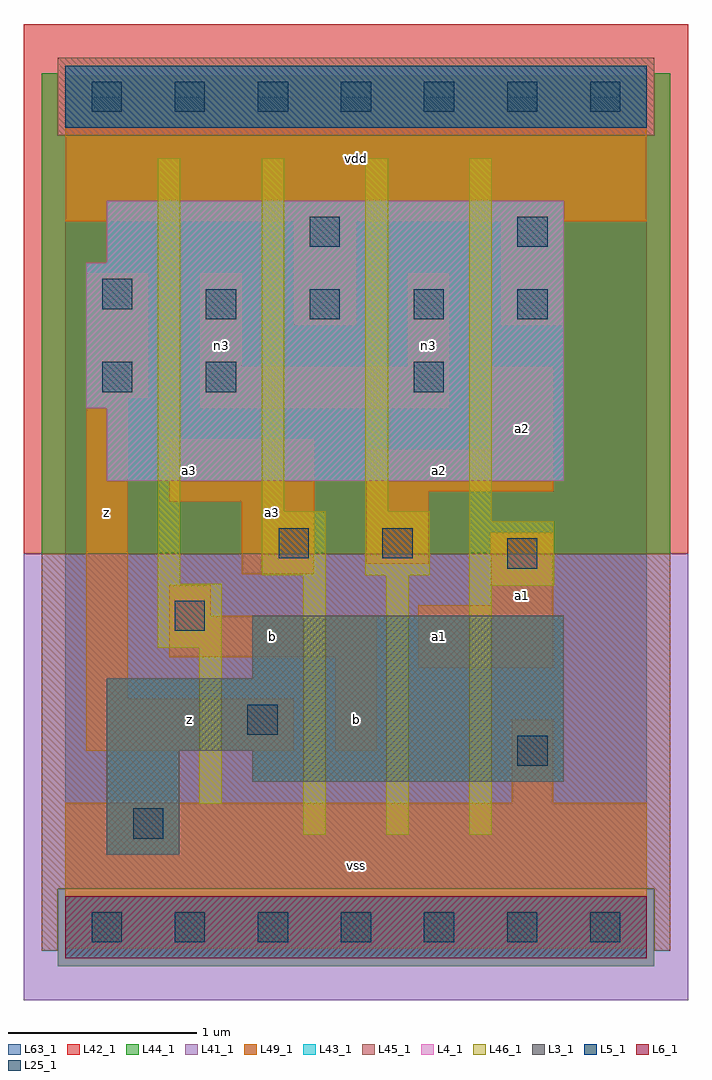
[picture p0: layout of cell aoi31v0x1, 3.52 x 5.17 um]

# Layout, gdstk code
import gdstk
lib = gdstk.Library(unit=1e-6, precision=1e-09)
def R(c, l, rs):  # rectangles x0, y0, x1, y1
    for r in rs: c.add(gdstk.rectangle(r[:2], r[2:], *l))
def A(c, l, x, y, w, h, nx, ny, dx, dy):  # array of equal rectangles
    R(c, l, [(x+i*dx, y+j*dy, x+i*dx+w, y+j*dy+h) for i in range(nx) for j in range(ny)])
L3_1 = (3, 1)
L4_1 = (4, 1)
L5_1 = (5, 1)
L6_1 = (6, 1)
L25_1 = (25, 1)
L41_1 = (41, 1)
L42_1 = (42, 1)
L43_1 = (43, 1)
L44_1 = (44, 1)
L45_1 = (45, 1)
L46_1 = (46, 1)
L49_1 = (49, 1)
L63_1 = (63, 1)

aoi31v0x1 = lib.new_cell('aoi31v0x1')
R(aoi31v0x1, L3_1, [(0.22,0.385,0.605,0.935), (0.99,0.77,2.64,0.935), (0.22,0.935,2.64,1.32), (0.99,1.32,2.64,1.65)])
R(aoi31v0x1, L4_1, [(0.22,2.365,2.64,2.75), (0.11,2.75,2.64,3.52), (0.22,3.52,2.64,3.85)])
R(aoi31v0x1, L5_1, [(0,4.235,3.08,4.565)])
R(aoi31v0x1, L6_1, [(0,-0.165,3.08,0.165)])
A(aoi31v0x1, L25_1, 0.14, -0.08, 0.16, 0.16, 7, 2, 0.44, 4.4)
A(aoi31v0x1, L25_1, 0.745, 3.22, 0.16, 0.16, 4, 1, 0.55, 0)
R(aoi31v0x1, L25_1, [(0.36,0.47,0.52,0.63), (2.395,0.855,2.555,1.015), (0.965,1.02,1.125,1.18), (0.58,1.57,0.74,1.73), (2.34,1.9,2.5,2.06), (1.13,1.955,1.29,2.115), (1.68,1.955,1.84,2.115), (0.195,2.835,0.355,2.995), (0.745,2.835,0.905,2.995), (1.845,2.835,2.005,2.995), (0.195,3.275,0.355,3.435), (1.295,3.605,1.455,3.765), (2.395,3.605,2.555,3.765)])
R(aoi31v0x1, L41_1, [(-0.22,-0.385,3.3,1.98)])
R(aoi31v0x1, L42_1, [(-0.22,1.98,3.3,4.785)])
R(aoi31v0x1, L43_1, [(0,-0.165,3.08,0.165), (0.22,0.385,0.605,0.935), (0.99,0.77,2.64,0.935), (0.22,0.935,2.64,1.32), (0.99,1.32,2.64,1.65), (0.22,2.365,2.64,2.75), (0.11,2.75,2.64,3.52), (0.22,3.52,2.64,3.85), (0,4.235,3.08,4.565)])
R(aoi31v0x1, L44_1, [(-0.04,-0.205,3.12,0.205), (-0.125,1.98,3.205,4.195), (-0.125,4.195,-0.04,4.525), (3.12,4.195,3.205,4.525)])
R(aoi31v0x1, L45_1, [(-0.125,-0.125,-0.04,0.205), (3.12,-0.125,3.205,0.205), (-0.125,0.205,3.205,1.98), (-0.04,4.195,3.12,4.605)])
R(aoi31v0x1, L46_1, [(1.26,0.49,1.38,1.865), (1.7,0.49,1.82,1.865), (2.14,0.49,2.26,1.81), (0.71,0.655,0.83,1.48), (0.49,1.48,0.83,1.82), (2.14,1.81,2.59,2.15), (0.49,1.82,0.61,4.075), (1.04,1.865,1.38,2.205), (1.59,1.865,1.93,2.205), (2.14,2.15,2.26,4.075), (1.04,2.205,1.16,4.075), (1.59,2.205,1.71,4.075)])
R(aoi31v0x1, L49_1, [(0,-0.11,3.08,0.66), (2.365,0.66,2.585,1.1), (0.11,0.935,1.21,1.21), (1.43,0.935,1.65,1.43), (0.11,1.21,0.33,2.805), (1.87,1.375,2.585,1.705), (0.55,1.43,1.65,1.65), (0.55,1.65,0.77,1.815), (2.255,1.705,2.585,2.09), (0.935,1.87,1.32,2.255), (1.595,1.925,1.925,2.31), (0.55,2.255,1.32,2.585), (1.595,2.31,2.585,2.53), (2.255,2.53,2.585,2.97), (0.715,2.75,2.035,2.97), (0.11,2.805,0.44,3.465), (0.715,2.97,0.935,3.465), (1.815,2.97,2.035,3.465), (1.21,3.19,1.54,3.74), (2.31,3.19,2.64,3.74), (0,3.74,3.08,4.51)])
R(aoi31v0x1, L63_1, [(0,0,3.08,4.4)])
aoi31v0x1.add(gdstk.Label('z', (0.22,2.2), layer=49, texttype=1))
aoi31v0x1.add(gdstk.Label('z', (0.66,1.1), layer=49, texttype=1))
aoi31v0x1.add(gdstk.Label('a3', (0.66,2.42), layer=49, texttype=1))
aoi31v0x1.add(gdstk.Label('n3', (0.825,3.08), layer=49, texttype=1))
aoi31v0x1.add(gdstk.Label('vss', (1.54,0.33), layer=49, texttype=1))
aoi31v0x1.add(gdstk.Label('b', (1.1,1.54), layer=49, texttype=1))
aoi31v0x1.add(gdstk.Label('b', (1.54,1.1), layer=49, texttype=1))
aoi31v0x1.add(gdstk.Label('a3', (1.1,2.2), layer=49, texttype=1))
aoi31v0x1.add(gdstk.Label('vdd', (1.54,4.07), layer=49, texttype=1))
aoi31v0x1.add(gdstk.Label('a1', (1.98,1.54), layer=49, texttype=1))
aoi31v0x1.add(gdstk.Label('a1', (2.42,1.76), layer=49, texttype=1))
aoi31v0x1.add(gdstk.Label('a2', (1.98,2.42), layer=49, texttype=1))
aoi31v0x1.add(gdstk.Label('a2', (2.42,2.64), layer=49, texttype=1))
aoi31v0x1.add(gdstk.Label('n3', (1.925,3.08), layer=49, texttype=1))

lib.write_gds('aoi31v0x1.gds')
